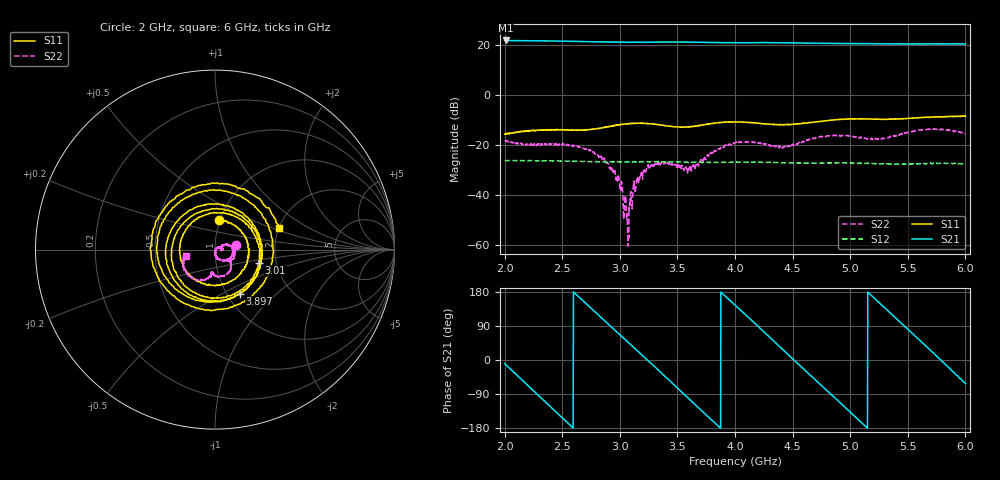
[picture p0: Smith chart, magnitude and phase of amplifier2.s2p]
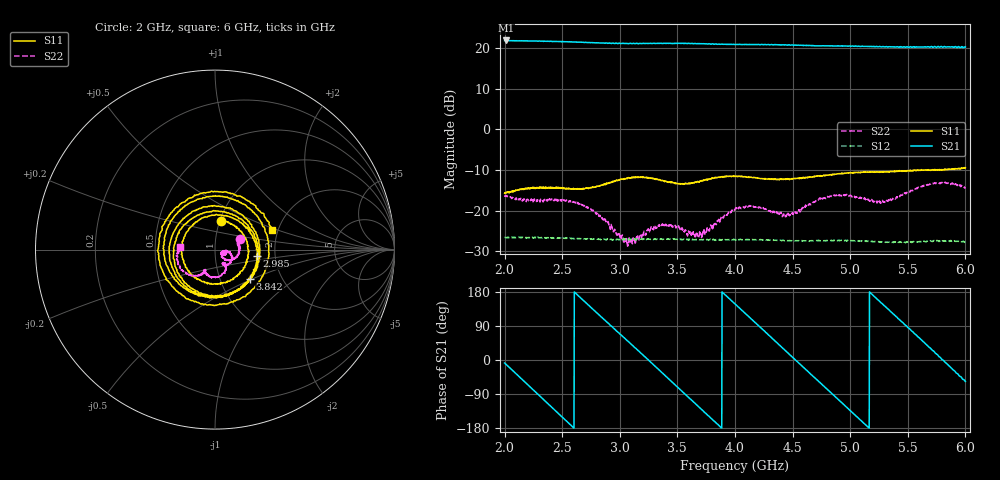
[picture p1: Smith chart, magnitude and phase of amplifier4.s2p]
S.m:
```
clear all;
close all;
clc;


% 文件夹路径及文件名
folder_path = 'D:\EK2370\sfile'; % 修改为实际路径
file_names = {'amplifier1.s2p', 'amplifier2.s2p', 'amplifier3.s2p', 'amplifier4.s2p', 'amplifier5.s2p', 'amplifier6.s2p', 'amplifier7.s2p'};

% 初始化存储数据的数组
s11_data = {};
s21_data = {};
s12_data = {};
frequency_data = {};

% 读取每个 .s2p 文件并提取S参数
for i = 1:length(file_names)
    file_path = fullfile(folder_path, file_names{i});
    s_params = sparameters(file_path);
    
    % 提取频率和S参数数据
    frequency_data{i} = s_params.Frequencies; % 提取频率 [Hz]
    s11_data{i} = 20*log10(abs(squeeze(s_params.Parameters(1,1,:)))); % 提取并转换为dB
    s21_data{i} = 20*log10(abs(squeeze(s_params.Parameters(2,1,:))));
    s12_data{i} = 20*log10(abs(squeeze(s_params.Parameters(1,2,:))));
end

% 绘制S11, S21, S12
figure;
for i = 1:length(file_names)
    % 绘制S11
    subplot(3, 1, 1);
    plot(frequency_data{i}/1e9, s11_data{i}, 'DisplayName', ['File ' num2str(i)]);
    hold on;
    title('S11 vs Frequency');
    xlabel('Frequency (GHz)');
    ylabel('S11 (dB)');
    grid on;
    legend('show');
    
    % 绘制S21
    subplot(3, 1, 2);
    plot(frequency_data{i}/1e9, s21_data{i}, 'DisplayName', ['File ' num2str(i)]);
    hold on;
    title('S21 vs Frequency');
    xlabel('Frequency (GHz)');
    ylabel('S21 (dB)');
    grid on;
    legend('show');
    
    % 绘制S12
    subplot(3, 1, 3);
    plot(frequency_data{i}/1e9, s12_data{i}, 'DisplayName', ['File ' num2str(i)]);
    hold on;
    title('S12 vs Frequency');
    xlabel('Frequency (GHz)');
    ylabel('S12 (dB)');
    grid on;
    legend('show');
end
```
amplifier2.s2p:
#  HZ  S  DB  R  50.00
! Rohde & Schwarz ZVA24 4Ports - Version 3.60 - 1145.1110k28 SN: 101513
! Date: 2019-09-25 19:20:51
! Measurements: S33 S43 S34 S44
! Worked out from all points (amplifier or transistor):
!   1601 points, 2 GHz to 6 GHz, reference 50 ohm
!   highest |S21| = 21.8 dB at 2.01 GHz (marker M1)
!   |S21| within 3 dB of that: start of sweep to end of sweep
!   unconditionally stable (mu >= 1): start of sweep to end of sweep
!   at 2.665 GHz: K = 1.15, MAG = 21.7 dB, |S12| = -26.6 dB
!   at 4 GHz: K = 1.15, MAG = 21.6 dB, |S12| = -27.0 dB
!   at 6 GHz: K = 1.13, MAG = 21.9 dB, |S12| = -27.8 dB
!   S11 on the Smith chart (normalised r, x): 2 GHz: 0.99, +0.33; 3.01 GHz: 1.62, -0.25; 3.897 GHz: 1.14, -0.61; 6 GHz: 1.99, +0.57
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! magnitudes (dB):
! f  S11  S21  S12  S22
! 2 GHz  -15.7  21.8  -26.4  -18.6
! 2.01 GHz  -15.6  21.8  -26.3  -18.4
! 2.728 GHz  -14.0  21.4  -26.7  -22.2
! 3.01 GHz  -11.8  21.1  -26.9  -38.0
! 3.067 GHz  -11.6  21.1  -26.8  -53.5
! 3.135 GHz  -11.4  21.1  -26.8  -39.3
! 3.255 GHz  -11.5  21.1  -26.8  -29.1
! 3.603 GHz  -12.9  21.2  -26.9  -29.2
! 3.897 GHz  -11.0  20.9  -27.0  -21.0
! 4 GHz  -10.9  20.9  -27.0  -19.2
! 6 GHz  -8.5  20.5  -27.8  -15.7
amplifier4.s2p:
#  HZ  S  DB  R  50.00
! Rohde & Schwarz ZVA24 4Ports - Version 3.60 - 1145.1110k28 SN: 101513
! Date: 2019-09-25 19:08:50
! Measurements: S33 S43 S34 S44
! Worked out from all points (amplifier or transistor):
!   1601 points, 2 GHz to 6 GHz, reference 50 ohm
!   highest |S21| = 21.9 dB at 2.01 GHz (marker M1)
!   |S21| within 3 dB of that: start of sweep to end of sweep
!   unconditionally stable (mu >= 1): start of sweep to end of sweep
!   at 2.665 GHz: K = 1.16, MAG = 21.8 dB, |S12| = -26.9 dB
!   at 4 GHz: K = 1.17, MAG = 21.6 dB, |S12| = -27.2 dB
!   at 6 GHz: K = 1.14, MAG = 21.7 dB, |S12| = -27.7 dB
!   S11 on the Smith chart (normalised r, x): 2 GHz: 1.02, +0.33; 2.985 GHz: 1.60, -0.12; 3.842 GHz: 1.39, -0.48; 6 GHz: 1.87, +0.46
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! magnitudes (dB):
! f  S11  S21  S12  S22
! 2 GHz  -15.7  21.9  -26.6  -16.3
! 2.01 GHz  -15.7  21.9  -26.6  -16.3
! 2.64 GHz  -14.7  21.5  -26.9  -18.2
! 2.985 GHz  -12.6  21.2  -27.1  -25.6
! 3.38 GHz  -12.7  21.2  -27.0  -23.8
! 3.695 GHz  -12.8  21.2  -27.2  -25.7
! 3.842 GHz  -11.9  21.0  -27.1  -22.8
! 4 GHz  -11.6  21.0  -27.2  -19.7
! 4.43 GHz  -12.2  20.8  -27.4  -20.8
! 4.85 GHz  -11.1  20.6  -27.4  -16.4
! 6 GHz  -9.4  20.3  -27.7  -14.3
